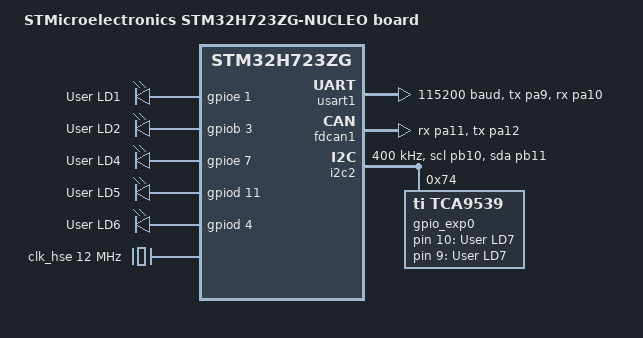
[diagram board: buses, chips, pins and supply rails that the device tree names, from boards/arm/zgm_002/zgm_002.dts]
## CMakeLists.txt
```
# SPDX-License-Identifier: Apache-2.0

cmake_minimum_required(VERSION 3.20.0)

set(BOARD_ROOT ${CMAKE_CURRENT_SOURCE_DIR})
#set(DTS_ROOT ${CMAKE_CURRENT_SOURCE_DIR})

#set(DTC_OVERLAY_FILE ${CMAKE_CURRENT_SOURCE_DIR}/../drivers/drivers@0.1.overlay)
set(DTC_OVERLAY_FILE ${CMAKE_CURRENT_SOURCE_DIR}/../drivers/drivers@0.2.overlay)

get_filename_component(MODULES_BASE_PATH "${CMAKE_CURRENT_SOURCE_DIR}/../.." ABSOLUTE)

# 添加Zephyr外部模块
list(APPEND ZEPHYR_EXTRA_MODULES
    "${MODULES_BASE_PATH}/motorlib"
    "${MODULES_BASE_PATH}/CommonLibrary"
)

find_package(Zephyr REQUIRED HINTS $ENV{ZEPHYR_BASE})
project(motor_app)

add_subdirectory(drivers/gpio)

target_sources(app PRIVATE
    src/main.c
    src/shell.c
)
zephyr_include_directories(objdict)
```

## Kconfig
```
#// clang-format off
source "Kconfig.zephyr" 
rsource "drivers/gpio/Kconfig.tca9539" 


#// clang-format on
```

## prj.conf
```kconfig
CONFIG_GPIO=y
CONFIG_LOG=y
CONFIG_UART_CONSOLE=y
CONFIG_SHELL=y
CONFIG_SHELL_BACKEND_SERIAL=y

CONFIG_SEGGER_SYSTEMVIEW=y
CONFIG_USE_SEGGER_RTT=y

CONFIG_MAIN_STACK_SIZE=4096

CONFIG_I2C=y
CONFIG_GPIO_TCA9539=y

CONFIG_SPI=y
CONFIG_ENCODER_TYPE_TLE5012B=y
CONFIG_USER_USE_STM32_HAL_SPI=y
CONFIG_MOTOR_SUPER_ABZHALL_400W=n

CONFIG_MOTORLIB_ENABLE=y
#请确保n选1
CONFIG_MOTOR_DEBUG_MODE=y
CONFIG_MOTOR_DEBUG_ENCODERMODE=y
CONFIG_MOTOR_DEBUG_SELFLOOPMODE=n
CONFIG_MOTOR_DEBUG_TORQUE_PID=n
CONFIG_SPEEDLOOP_DEBUG=n
CONFIG_ABS_TYPE_ENCODER_CALIBRA=n
```

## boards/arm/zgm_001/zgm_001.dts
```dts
/*
 * Copyright (c) 2019 Richard Osterloh <richard.osterloh@gmail.com>
 *
 * SPDX-License-Identifier: Apache-2.0
 */

/dts-v1/;
#include <st/g4/stm32g431Xb.dtsi>
#include <st/g4/stm32g431c(6-8-b)ux-pinctrl.dtsi>

/ {
	model = "STMicroelectronics STM32G431RB-NUCLEO_X board";
	compatible = "st,stm32g431rb_x-nucleo";

	chosen {
		zephyr,console = &usart3;
		zephyr,shell-uart = &usart3;
		zephyr,sram = &sram0;
		zephyr,flash = &flash0;
		zephyr,code-partition = &slot0_partition;
		zephyr,canbus = &fdcan1;
	};

	leds: leds {
		compatible = "gpio-leds";
		green_led: led_0 {
			gpios = <&gpioc 6 GPIO_ACTIVE_HIGH>;
			label = "User LD2";
		};
	};
	aliases {
		led0 = &green_led;
		watchdog0 = &iwdg;
		can0 = &fdcan1;
	};
};

&clk_lsi {
	status = "okay";
};

&clk_lse {
	status = "disabled";
};

&clk_hsi48 {
	status = "okay";
};

&clk_hse {
	clock-frequency = <DT_FREQ_M(24)>;
	status = "okay";
};

&pll {
	div-m = <6>;
	mul-n = <85>;
	div-p = <7>;
	div-q = <2>;
	div-r = <2>;
	clocks = <&clk_hse>;
	status = "okay";
};

&rcc {
	clocks = <&pll>;
	clock-frequency = <DT_FREQ_M(170)>;
	ahb-prescaler = <1>;
	apb1-prescaler = <1>;
	apb2-prescaler = <1>;
};

&rng {
	clocks = <&rcc STM32_CLOCK_BUS_AHB2 0x04000000>,
		 <&rcc STM32_SRC_HSI48 CLK48_SEL(0)>;
	status = "okay";
};

&usart3 {
	pinctrl-0 = <&usart3_tx_pb10 &usart3_rx_pb11>;
	pinctrl-names = "default";
	current-speed = <115200>;
	status = "okay";
};

stm32_lp_tick_source: &lptim1 {
	clocks = <&rcc STM32_CLOCK_BUS_APB1 0x80000000>,
		 <&rcc STM32_SRC_LSE LPTIM1_SEL(3)>;
	status = "okay";
};

&rtc {
	clocks = <&rcc STM32_CLOCK_BUS_APB1 0x00000400>,
		 <&rcc STM32_SRC_LSI RTC_SEL(2)>;
	status = "okay";
};

&flash0 {

	partitions {
		compatible = "fixed-partitions";
		#address-cells = <1>;
		#size-cells = <1>;

		boot_partition: partition@0 {
			label = "mcuboot";
			reg = <0x00000000 DT_SIZE_K(34)>;
		};
		slot0_partition: partition@8800 {
			label = "image-0";
			reg = <0x00008800 DT_SIZE_K(48)>;
		};
		slot1_partition: partition@14800 {
			label = "image-1";
			reg = <0x00014800 DT_SIZE_K(42)>;
		};
		/* Set 4Kb of storage at the end of the 128Kb of flash */
		storage_partition: partition@1f000 {
			label = "storage";
			reg = <0x0001f000 DT_SIZE_K(4)>;
		};
	};
};

/* 配置 CAN1 控制器 */
&fdcan1 {
	clocks = <&rcc STM32_CLOCK_BUS_APB1 0x02000000>,
	<&rcc STM32_SRC_HSE FDCAN_SEL(0)>;
	pinctrl-0 = <&fdcan1_rx_pa11 &fdcan1_tx_pa12>;
	pinctrl-names = "default";
	status = "okay";    
};
```

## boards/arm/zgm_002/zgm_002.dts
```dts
/*
 * Copyright (c) 2020 Alexander Kozhinov <ak.alexander.kozhinov@gmail.com>
 * SPDX-License-Identifier: Apache-2.0
 */

/dts-v1/;
#include <st/h7/stm32h723Xg.dtsi>
#include <st/h7/stm32h723vgtx-pinctrl.dtsi>

/*
 * WARNING:
 * JP6 and SB72 must be ON when using Ethernet.
 */

/ {
	model = "STMicroelectronics STM32H723ZG-NUCLEO board";
	compatible = "st,stm32h723zg-nucleo";

	chosen {
		zephyr,console = &usart1;
		zephyr,shell-uart = &usart1;
		zephyr,dtcm = &dtcm;
		zephyr,sram = &sram0;
		zephyr,flash = &flash0;
		zephyr,canbus = &fdcan1;
	};

	leds: leds {
		compatible = "gpio-leds";
		

		green_led: led_0 {
			gpios = <&gpioe 1 GPIO_ACTIVE_HIGH>;
			label = "User LD1";
		};
		mot12_brk_pin: led_1 {
			gpios = <&gpiob 3 GPIO_ACTIVE_HIGH>;
			label = "User LD2";
		};
		encoder_vcc: led_2 {
			gpios = <&gpiod 3 GPIO_ACTIVE_HIGH>;
			label = "User LD2";
			status = "disabled";
		};	
		encoder_3_3v:led{
			gpios = <&gpio_exp0 10 GPIO_ACTIVE_HIGH>;
			label = "User LD7";			
			status = "okay";
		};
		wdog: led_3 {
			gpios = <&gpioe 7 GPIO_ACTIVE_HIGH>;
			label = "User LD4";
		};				
		proximity_switch:led_4{
			gpios = <&gpiod 11 GPIO_ACTIVE_HIGH>;
			label = "User LD5";
		};
		stopbutton:led_5{
			gpios = <&gpiod 4 GPIO_ACTIVE_HIGH>;
			label = "User LD6";
		};
		run_led: led_6 {
			gpios = <&gpio_exp0 9 GPIO_ACTIVE_HIGH>;
			label = "User LD7";
		};			
	};

	aliases {
		led0 = &green_led;
	};

};

&clk_lsi {
	status = "okay";
};

&clk_hsi48 {
	status = "okay";
};

&clk_hse {
	clock-frequency = <DT_FREQ_M(12)>; /* STLink 12MHz clock */
	status = "okay";
};

&clk_lse {
	status = "disabled";
};

&pll {
	div-m = <6>;
	mul-n = <275>;
	div-p = <1>;
	div-q = <4>;
	div-r = <2>;
	clocks = <&clk_hse>;
	status = "okay";
};

&pll2 {
	div-m = <1>;
	mul-n = <10>;
	div-p = <1>;
	div-q = <1>;
	div-r = <1>;
	clocks = <&clk_hse>;
	status = "okay";
};

&rcc {
	clocks = <&pll>;
	clock-frequency = <DT_FREQ_M(550)>;
	d1cpre = <1>;
	hpre = <2>;    /* HCLK: 275   MHz */
	d1ppre = <2>;  /* APB1: 137.5 MHz */
	d2ppre1 = <2>; /* APB2: 137.5 MHz */
	d2ppre2 = <2>; /* APB3: 137.5 MHz */
	d3ppre = <2>;  /* APB4: 137.5 MHz */
};


&usart1 {
	pinctrl-0 = <&usart1_tx_pa9 &usart1_rx_pa10>;
	pinctrl-names = "default";
	current-speed = <115200>;
	status = "okay";
};


&backup_sram {
	status = "okay";
};

&fdcan1 {
	pinctrl-0 = <&fdcan1_rx_pa11 &fdcan1_tx_pa12>;
	pinctrl-names = "default";
	clocks = <&rcc STM32_CLOCK_BUS_APB1_2 0x00000100>,
		 <&rcc STM32_SRC_PLL2_Q FDCAN_SEL(2)>;
	status = "okay";
};

&i2c2 {
	pinctrl-0 = <&i2c2_scl_pb10 &i2c2_sda_pb11>;
	pinctrl-names = "default";
	status = "okay";
	clock-frequency = <I2C_BITRATE_FAST>;
	gpio_exp0: tca9539@74 {
		compatible = "ti,tca9539";
		reg = <0x74>;
		gpio-controller;
		#gpio-cells = <2>;
		ngpios = <16>;
		status = "okay";
	};	
};
```

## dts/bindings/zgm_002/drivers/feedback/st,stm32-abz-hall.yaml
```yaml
# Copyright (c) 2021, Teslabs Engineering S.L.
# SPDX-License-Identifier: Apache-2.0

description: |
  ABZ sensor driver for STM32 microcontrollers.

  The ABZ device is expected to be a children of any STM32 timer supporting
  the ABZ interface. Example usage:

      &timers2 {
        status = "okay";

        feedback: feedback {
            compatible = "st,stm32-abz";

            pinctrl-0 = <&tim2_ch1_pa15 &tim2_ch2_pb3>;
            pinctrl-names = "default";

            lines = <4096>;
            pole-pairs = <15>;
        };
      };

compatible: "encoder,abz-hall"

include: [base.yaml, pinctrl-device.yaml]

properties:
  pinctrl-0:
    required: true

  pinctrl-names:
    required: true

  lines:
    type: int
    default: 4096
    description: |
      number of encoder lines

  pole-pairs:
    type: int
    default: 15
    description: |
      number of encoder pole pairs

  hu-gpios:
    type: phandle-array
    required: true
  hv-gpios:
    type: phandle-array
    required: true    
  hw-gpios:
    type: phandle-array
    required: true
```

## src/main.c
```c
/*
 * Copyright (c) 2016 Intel Corporation
 *
 * SPDX-License-Identifier: Apache-2.0
 */

#include <stdint.h>
#include <zephyr/kernel.h>
#include "fault_monitoring_module.h"
#include "lib/foc/foc.h"
#include "statemachine.h"
#include "zephyr/device.h"
#include <zephyr/drivers/gpio.h>
#include <zephyr/logging/log.h>
#include <lib/motor/motor.h>
#include <fault_monitoring_module.h>
#include <zephyr/sys/reboot.h>
#include "drivers/tle5012b.h"

#define LOG_LEVEL LOG_LEVEL_DBG
#include <zephyr/logging/log.h>
LOG_MODULE_REGISTER(motor_sample);

#define MOT12_BRK_PIN_NODE DT_NODELABEL(mot12_brk_pin)
// #define ENCODER_VCC	   DT_NODELABEL(encoder_vcc)
#define W_DOG              DT_NODELABEL(wdog)
extern void motor_set_vol(const struct device *motor, float *bus_vol);
extern void motor_set_falutcode(const struct device *motor, enum motor_fault_code code);
extern enum motor_fault_code motor_get_falutcode(const struct device *motor);
int main(void)
{
	const struct device *motor0 = DEVICE_DT_GET(DT_NODELABEL(motor0));
	const struct motor_data *m_data = motor0->data;

	int ret;

	const struct gpio_dt_spec mot12_brk = GPIO_DT_SPEC_GET(MOT12_BRK_PIN_NODE, gpios);
	ret = gpio_pin_configure_dt(&mot12_brk, GPIO_OUTPUT_ACTIVE);
	if (ret < 0) {
		LOG_ERR("Failed to configure brake pin (err %d)", ret);
	}
	gpio_pin_set_dt(&mot12_brk, 0);
	/* Initialize watchdog pin */
	const struct gpio_dt_spec w_dog = GPIO_DT_SPEC_GET(W_DOG, gpios);
	ret = gpio_pin_configure_dt(&w_dog, GPIO_OUTPUT_ACTIVE);
	if (ret < 0) {
		LOG_ERR("Failed to configure watchdog pin (err %d)", ret);
	}

/* Initialize encoder power */
#if DT_NODE_HAS_STATUS(DT_NODELABEL(encoder_vcc), okay)
	const struct gpio_dt_spec encoder_vcc = GPIO_DT_SPEC_GET(DT_NODELABEL(encoder_vcc), gpios);
	int ret = gpio_pin_configure_dt(&encoder_vcc, GPIO_OUTPUT_ACTIVE);
	if (ret < 0) {
		LOG_ERR("Failed to configure encoder_vcc power (err %d)", ret);
	}
#endif

#if DT_NODE_HAS_STATUS(DT_NODELABEL(encoder_3_3v), okay)
	const struct gpio_dt_spec encoder_3_3v =
		GPIO_DT_SPEC_GET(DT_NODELABEL(encoder_3_3v), gpios);
	ret = gpio_pin_configure_dt(&encoder_3_3v, GPIO_OUTPUT_ACTIVE);
	if (ret < 0) {
		LOG_ERR("Failed to configure encoder_3_3v power (err %d)", ret);
	}
	gpio_pin_set_dt(&encoder_3_3v, 1);
#endif
	float bus_volcurur[2];
	fmm_t *bus_vol_fmm = m_data->fault[0];
	fmm_t *buf_curr_fmm = m_data->fault[1];
	fmm_init(bus_vol_fmm, 60.0f, 48.0f, 5, 5, NULL);
	fmm_init(buf_curr_fmm, 5.0f, 0.0f, 5, 5, NULL);

	static int16_t fault_fsm = 0;
	static uint32_t conut = 0;
	k_msleep(200);
	while (1) {
		if (conut++ > 500) {
			conut = 0;
		}
		motor_get_bus_voltage_current(motor0, &bus_volcurur[0], &bus_volcurur[1]);
		motor_set_vol(motor0, bus_volcurur);

		// fmm_monitoring(bus_vol_fmm, bus_volcurur[0]);
		// fmm_monitoring(buf_curr_fmm, bus_volcurur[1]);

		// switch (fault_fsm) {
		// case 1:
		// 	if (fmm_readstatus(bus_vol_fmm) == FMM_NORMAL &&
		// 	    fmm_readstatus(buf_curr_fmm) == FMM_NORMAL) { // 判断是否恢复
		// 		fault_fsm = 0;
		// 		motor_set_falutcode(motor0, MOTOR_FAULTCODE_NOERR);
		// 		motor_set_state(motor0, MOTOR_STATE_IDLE);
		// 	}
		// 	break;
		// case 0: // 判断是否有故障
		// 	if (fmm_readstatus(bus_vol_fmm) == FMM_FAULT) {
		// 		fault_fsm = 1;
		// 		motor_set_falutcode(motor0, MOTOR_FAULTCODE_UNDERVOL);
		// 		motor_set_state(motor0, MOTOR_STATE_FAULT);
		// 	} else if (fmm_readstatus(buf_curr_fmm) == FMM_FAULT) {
		// 		fault_fsm = 1;
		// 		motor_set_falutcode(motor0, MOTOR_FAULTCODE_OVERCURRMENT);
		// 		motor_set_state(motor0, MOTOR_STATE_FAULT);
		// 	} else {
		// 	}
		// 	break;
		// default:
		// 	break;
		// }

		DISPATCH_FSM(m_data->mode_state_mec);
		gpio_pin_toggle_dt(&w_dog);

		k_msleep(1);
	}
}
```

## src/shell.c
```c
#include <zephyr/kernel.h>
#include <zephyr/shell/shell.h>
#include <stdlib.h>
#include <zephyr/drivers/gpio.h>

#include "lib/motor/motor.h"
#include "zephyr/posix/sys/stat.h"
const struct device *motor = DEVICE_DT_GET(DT_NODELABEL(motor0));

static int cmd_hello(const struct shell *sh, size_t argc, char **argv)
{
	ARG_UNUSED(argc);
	ARG_UNUSED(argv);

	shell_print(sh, "Hello Zephyr Shell! argc=%d", argc);
	return 0;
}

static int cmd_motor_set_ready(const struct shell *sh, size_t argc, char **argv)
{
	ARG_UNUSED(argc);
	ARG_UNUSED(argv);
	const struct gpio_dt_spec mot12_brk = GPIO_DT_SPEC_GET(DT_NODELABEL(mot12_brk_pin), gpios);
	gpio_pin_set_dt(&mot12_brk, 1);
	motor_set_state(motor, MOTOR_STATE_READY);
	return 0;
}
// static int cmd_motor_set_aligh(const struct shell *sh, size_t argc, char **argv)
// {
// 	ARG_UNUSED(argc);
// 	ARG_UNUSED(argv);
// 	motor_set_state(motor, MOTOR_STATE_ALIGN);
// 	return 0;
// }
static int cmd_motor_set_disable(const struct shell *sh, size_t argc, char **argv)
{
	ARG_UNUSED(argc);
	ARG_UNUSED(argv);
	motor_set_state(motor, MOTOR_STATE_STOP);
	return 0;
}
static int cmd_motor_set_closeloop(const struct shell *sh, size_t argc, char **argv)
{
	ARG_UNUSED(argc);
	ARG_UNUSED(argv);
	motor_set_state(motor, MOTOR_STATE_CLOSED_LOOP);
	return 0;
}
static int cmd_motor_set_speed(const struct shell *sh, size_t argc, char **argv)
{
	if (argc != 2) {
		shell_error(sh, "Usage: add <num1> <num2>");
		return -EINVAL;
	}
	long temp = strtol(argv[1], NULL, 0);
	float speed = (float)temp / 1000.0f;
	motor_set_target_speed(motor, speed);
	motor_set_state(motor, MOTOR_STATE_CLOSED_LOOP);
	return 0;
}

static int cmd_motor_set_mode(const struct shell *sh, size_t argc, char **argv)
{
	if (argc != 2) {
		shell_error(sh, "Usage: add <num1> <num2>");
		return -EINVAL;
	}
	long mode = strtol(argv[1], NULL, 0);
	if (mode == 1) {
		motor_set_mode(motor, MOTOR_MODE_SPEED);
	} else if (mode == 2) {
		motor_set_mode(motor, MOTOR_MODE_POSI);
	} else if (mode == 3) {
		motor_set_mode(motor, MOTOR_MODE_TORQUE);
	} else if (mode == 5) {
		motor_set_mode(motor, MOTOR_MODE_IDLE);
	}
	return 0;
}
static int cmd_motor_set_toque(const struct shell *sh, size_t argc, char **argv)
{
	if (argc != 3) {
		shell_error(sh, "Usage: add <num1> <num2>");
		return -EINVAL;
	}
	long d_ref = strtol(argv[1], NULL, 0);
	long q_ref = strtol(argv[2], NULL, 0);
	float d_ref_float = (float)d_ref / 1000.0f;
	float q_ref_float = (float)q_ref / 1000.0f;
	motor_set_torque(motor, d_ref_float, q_ref_float);
	motor_set_state(motor, MOTOR_STATE_CLOSED_LOOP);
	return 0;
}

static int cmd_motor_set_posi(const struct shell *sh, size_t argc, char **argv)
{
	if (argc != 2) {
		shell_error(sh, "Usage: add <num1> <num2>");
		return -EINVAL;
	}
	long mode = strtol(argv[1], NULL, 0);
	if (mode == 1) {
		motor_clear_realodom(motor, 0.0f);
		motor_set_target_position(motor, 0.0f, -1500.0f, 5.0f);
	} else if (mode == 2) {
		motor_set_target_position(motor, -1500.0f, 0.0f, 5.0f);
	}
	motor_set_state(motor, MOTOR_STATE_CLOSED_LOOP);
	return 0;
}
static int cmd_motor_get_modestate(const struct shell *sh, size_t argc, char **argv)
{
	if (argc != 2) {
		shell_error(sh, "Usage: add <num1> <num2>");
		return -EINVAL;
	}
	long state = strtol(argv[1], NULL, 0);
	if (state == 1) {
		if (motor_get_state(motor) == MOTOR_STATE_READY) {
			shell_print(sh, "motor_ready_state");
		} else if (motor_get_state(motor) == MOTOR_STATE_CLOSED_LOOP) {
			shell_print(sh, "motor_runing_state");
		} else if (motor_get_state(motor) == MOTOR_STATE_STOP) {
			shell_print(sh, "motor_stop_state");
		} else if (motor_get_state(motor) == MOTOR_STATE_IDLE) {
			shell_print(sh, "motor_idle_state");
		} else if (motor_get_state(motor) == MOTOR_STATE_FAULT) {
			shell_print(sh, " motor_falut_state");
		} else if (motor_get_state(motor) == MOTOR_STATE_ALIGN) {
			shell_print(sh, " motor_aligh_state");
		}
	} else if (state == 2) {
		if (motor_get_mode(motor) == MOTOR_MODE_TORQUE) {
			shell_print(sh, " motor_torque_control_mode");
		} else if (motor_get_mode(motor) == MOTOR_MODE_SPEED) {
			shell_print(sh, "motor_speed_control_mode");
		} else if (motor_get_mode(motor) == MOTOR_MODE_POSI) {
			shell_print(sh, "motor_position_control_mode");
		}
	}
	return 0;
}
SHELL_CMD_REGISTER(hello, NULL, "Print hello", cmd_hello);
SHELL_CMD_REGISTER(mode, NULL, "Motor Set Mode", cmd_motor_set_mode);
SHELL_CMD_REGISTER(r, NULL, "Motor Set Ready", cmd_motor_set_ready);
// SHELL_CMD_REGISTER(a, NULL, "Motor Set Close", cmd_motor_set_aligh);
SHELL_CMD_REGISTER(c, NULL, "Motor Set Close", cmd_motor_set_closeloop);
SHELL_CMD_REGISTER(speed, NULL, "Motor Set Speed", cmd_motor_set_speed);
SHELL_CMD_REGISTER(s, NULL, "Motor Set Stop", cmd_motor_set_disable);
SHELL_CMD_REGISTER(p, NULL, "Motor Set Posi", cmd_motor_set_posi);
SHELL_CMD_REGISTER(t, NULL, "Motor Set Toque", cmd_motor_set_toque);
SHELL_CMD_REGISTER(g, NULL, "Motor Get State", cmd_motor_get_modestate);
```
